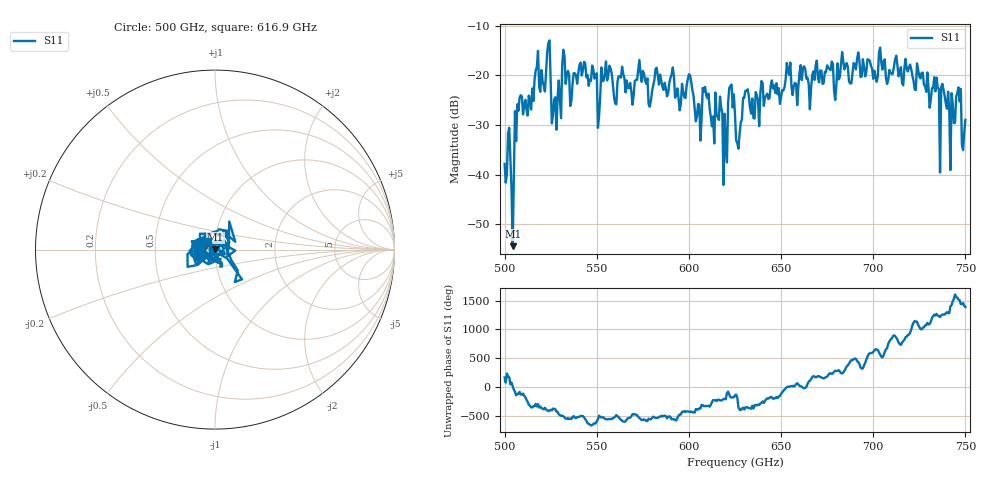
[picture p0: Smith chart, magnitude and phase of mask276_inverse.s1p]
!Created with skrf (http://scikit-rf.org).
# GHz S MA R 50.0
!freq magS11 angS11
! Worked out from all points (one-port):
!   401 points, 500 GHz to 750 GHz, reference 50 ohm
!   lowest |S11| = -54.4 dB at 504.4 GHz (marker M1), VSWR 1.00, Z = 50.2 + j0.0564 ohm
!   |S11| at or under -10 dB: start of sweep to end of sweep
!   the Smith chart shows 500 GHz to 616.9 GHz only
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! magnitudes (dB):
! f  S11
! 500 GHz  -37.9
! 504.4 GHz  -54.4
! 508.1 GHz  -24.5
! 523.8 GHz  -13.5
! 526.9 GHz  -24.9
! 531.2 GHz  -17.9
! 548.8 GHz  -20.7
! 550.6 GHz  -30.6
! 562.5 GHz  -20.2
! 579.4 GHz  -25.1
! 590.6 GHz  -19.8
! 593.8 GHz  -22.7
! 600.6 GHz  -20.0
! 605 GHz  -25.8
! 608.8 GHz  -22.4
! 612.5 GHz  -30.3
! 616.9 GHz  -24.3
! 619.4 GHz  -27.8
! 622.5 GHz  -22.2
! 625 GHz  -28.0
! 626.9 GHz  -34.8
! 630.6 GHz  -23.1
! 656.2 GHz  -24.0
! 687.5 GHz  -21.7
! 718.8 GHz  -19.2
! 743.1 GHz  -25.8
! 746.2 GHz  -22.5
! 750 GHz  -29.0
